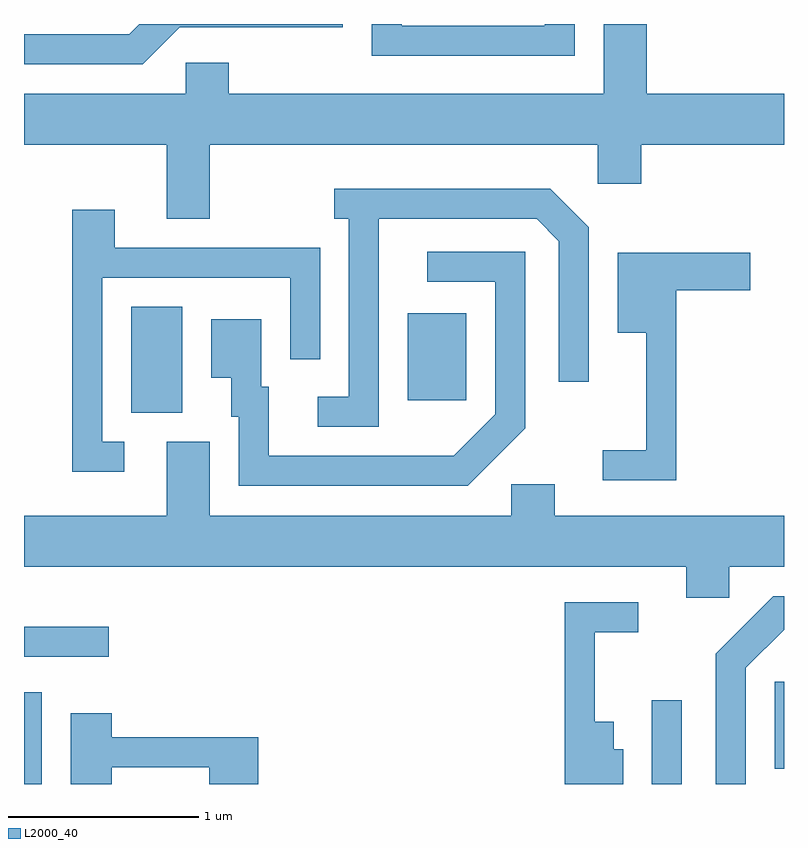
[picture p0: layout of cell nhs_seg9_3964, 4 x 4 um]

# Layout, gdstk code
import gdstk
lib = gdstk.Library(unit=1e-6, precision=1e-09)
def R(c, l, rs):  # rectangles x0, y0, x1, y1
    for r in rs: c.add(gdstk.rectangle(r[:2], r[2:], *l))
def P(c, l, *ps):  # polygons
    for p in ps: c.add(gdstk.Polygon(p, *l))
L2000_40 = (2000, 40)

nhs_seg9_3964 = lib.new_cell('nhs_seg9_3964')
R(nhs_seg9_3964, L2000_40, [(301.611,2008.432,301.704,2008.914), (304.916,2008.432,305.074,2008.873), (305.561,2008.511,305.611,2008.969), (301.611,2009.101,302.058,2009.259), (302.176,2010.386,302.444,2010.944), (303.631,2010.451,303.939,2010.909)])
P(nhs_seg9_3964, L2000_40, [(304.509,2012.432),(304.351,2012.432),(304.351,2012.424),(303.599,2012.424),(303.599,2012.432),(303.441,2012.432),(303.441,2012.266),(304.509,2012.266)],
  [(302.589,2011.796),(304.631,2011.796),(304.631,2011.591),(304.859,2011.591),(304.859,2011.796),(305.611,2011.796),(305.611,2012.064),(304.889,2012.064),(304.889,2012.432),(304.661,2012.432),(304.661,2012.064),(302.689,2012.064),(302.689,2012.229),(302.461,2012.229),(302.461,2012.064),(301.611,2012.064),(301.611,2011.796),(302.361,2011.796),(302.361,2011.406),(302.589,2011.406)],
  [(302.432,2012.416),(303.289,2012.416),(303.289,2012.432),(302.217,2012.432),(302.164,2012.379),(301.611,2012.379),(301.611,2012.221),(302.237,2012.221)],
  [(303.479,2011.406),(304.309,2011.406),(304.426,2011.289),(304.426,2010.548),(304.584,2010.548),(304.584,2011.362),(304.382,2011.564),(303.243,2011.564),(303.243,2011.406),(303.321,2011.406),(303.321,2010.469),(303.158,2010.469),(303.158,2010.311),(303.479,2010.311)],
  [(302.138,2010.234),(302.024,2010.234),(302.024,2011.096),(303.011,2011.096),(303.011,2010.668),(303.169,2010.668),(303.169,2011.254),(302.089,2011.254),(302.089,2011.454),(301.866,2011.454),(301.866,2010.076),(302.138,2010.076)],
  [(304.249,2010.304),(304.249,2011.234),(303.733,2011.234),(303.733,2011.076),(304.091,2011.076),(304.091,2010.377),(303.874,2010.159),(302.899,2010.159),(302.899,2010.524),(302.859,2010.524),(302.859,2010.879),(302.596,2010.879),(302.596,2010.571),(302.701,2010.571),(302.701,2010.366),(302.741,2010.366),(302.741,2010.001),(303.947,2010.001)],
  [(305.044,2011.031),(305.434,2011.031),(305.434,2011.229),(304.736,2011.229),(304.736,2010.806),(304.886,2010.806),(304.886,2010.189),(304.658,2010.189),(304.658,2010.031),(305.044,2010.031)],
  [(305.324,2009.576),(305.611,2009.576),(305.611,2009.844),(304.404,2009.844),(304.404,2010.009),(304.176,2010.009),(304.176,2009.844),(302.589,2009.844),(302.589,2010.234),(302.361,2010.234),(302.361,2009.844),(301.611,2009.844),(301.611,2009.576),(305.096,2009.576),(305.096,2009.411),(305.324,2009.411)],
  [(305.409,2009.044),(305.611,2009.245),(305.611,2009.419),(305.554,2009.419),(305.251,2009.117),(305.251,2008.432),(305.409,2008.432)],
  [(304.764,2008.614),(304.714,2008.614),(304.714,2008.759),(304.614,2008.759),(304.614,2009.231),(304.843,2009.231),(304.843,2009.389),(304.456,2009.389),(304.456,2008.432),(304.764,2008.432)],
  [(302.074,2008.521),(302.586,2008.521),(302.586,2008.432),(302.844,2008.432),(302.844,2008.679),(302.074,2008.679),(302.074,2008.804),(301.856,2008.804),(301.856,2008.432),(302.074,2008.432)])

lib.write_gds('nhs_seg9_3964.gds')
